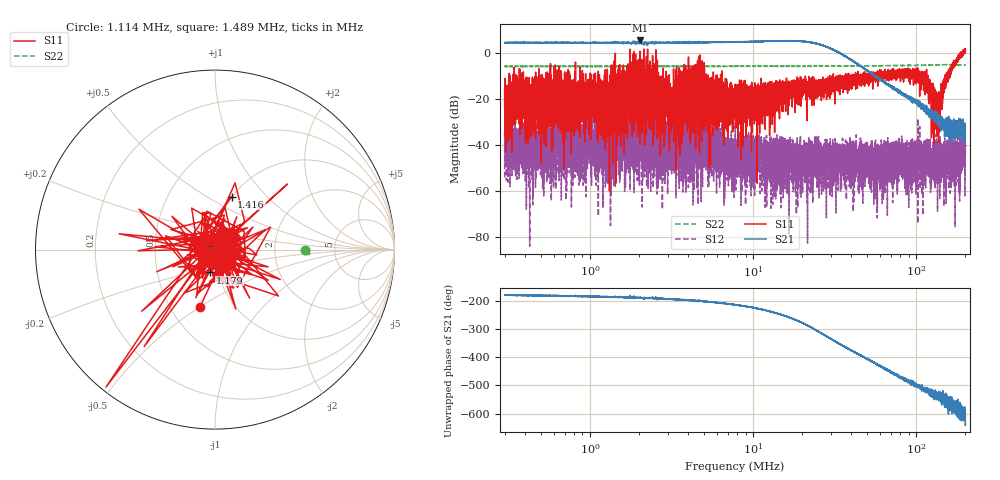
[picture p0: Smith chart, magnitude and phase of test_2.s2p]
# Hz S DB R 50
! CMT, M5065, 19127446, 24.2.4/2
! Date: 11/1/2024 4:55:46 PM
! Data: Format (Calibration Info)
! Freq	S11:dB/Ang(F2)	S21:dB/Ang(F2)	S12:dB/Ang(F2)	S22:dB/Ang(F2)
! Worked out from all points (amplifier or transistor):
!   9000 points, 300 kHz to 200 MHz, reference 50 ohm
!   highest |S21| = 5.4 dB at 2.025 MHz (marker M1)
!   |S21| within 3 dB of that: start of sweep to 28.49 MHz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
!   unconditionally stable (mu >= 1): start of sweep to 1.43 MHz; 2.537 MHz to 188 MHz; 188.5 MHz to 189.6 MHz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
!   at 886.8 kHz: K = 26.78, MAG = 5.6 dB, |S12| = -41.5 dB
!   at 7.749 MHz: K = 51.38, MAG = 6.1 dB, |S12| = -47.8 dB
!   at 200 MHz: K = -772.93, MSG = 5.5 dB, |S12| = -44.9 dB
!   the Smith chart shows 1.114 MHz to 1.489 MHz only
!   S11 on the Smith chart (normalised r, x): 1.114 MHz: 0.69, -0.50; 1.179 MHz: 0.92, -0.24; 1.416 MHz: 0.99, +0.65; 1.489 MHz: 0.79, +0.09
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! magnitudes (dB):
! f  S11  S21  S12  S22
! 300 kHz  -15.9  4.4  -54.1  -5.9
! 311.5 kHz  -14.4  4.3  -35.4  -5.9
! 355.8 kHz  -22.8  4.3  -37.1  -5.9
! 409.6 kHz  -15.5  4.3  -37.0  -5.9
! 486.8 kHz  -6.9  4.0  -39.7  -5.9
! 526.7 kHz  -21.4  4.4  -39.3  -5.9
! 886.8 kHz  -29.3  4.3  -41.5  -5.8
! 1.114 MHz  -9.6  4.5  -35.3  -6.0
! 1.179 MHz  -17.7  4.3  -30.1  -5.9
! 1.416 MHz  -10.2  4.3  -40.6  -5.8
! 1.489 MHz  -17.9  4.5  -40.9  -5.9
! 2.025 MHz  0.7  5.4  -40.4  -5.9
! 2.621 MHz  -17.5  4.4  -38.7  -5.9
! 4.976 MHz  -12.5  4.5  -46.1  -5.9
! 7.749 MHz  -17.9  4.7  -47.8  -5.8
! 22.91 MHz  -14.4  4.5  -59.9  -5.9
! 67.71 MHz  -9.9  -14.2  -54.7  -5.6
! 103.5 MHz  -8.2  -23.3  -47.3  -5.4
! 116 MHz  -12.3  -24.8  -47.3  -5.4
! 134.7 MHz  -34.2  -27.6  -41.8  -5.2
! 157.6 MHz  -8.6  -33.2  -41.1  -5.2
! 200 MHz  1.0  -33.9  -44.9  -5.3
